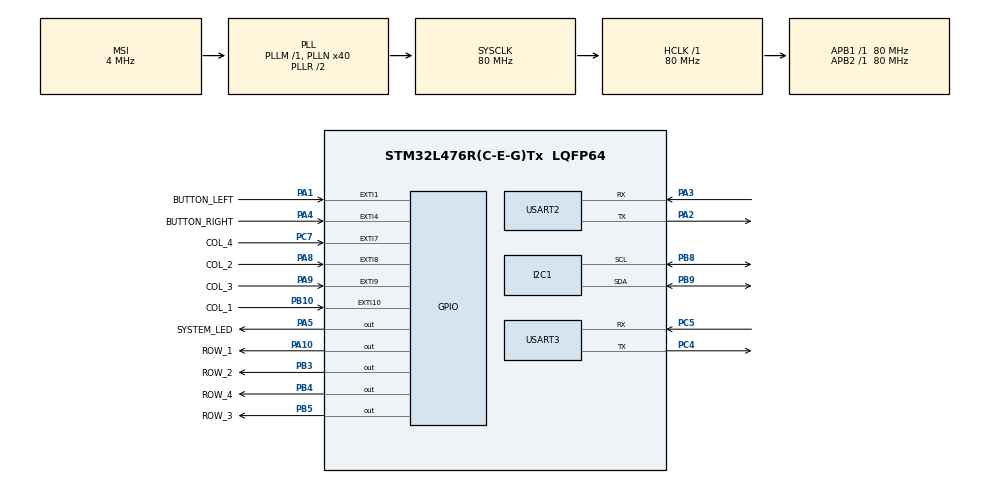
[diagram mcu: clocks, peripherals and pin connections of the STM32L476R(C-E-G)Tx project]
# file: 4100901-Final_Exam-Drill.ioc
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I2C1.Timing=0x10D19CE4
Mcu.Family=STM32L4
Mcu.Name=STM32L476R(C-E-G)Tx
Mcu.Package=LQFP64
NVIC.EXTI15_10_IRQn=true\:0\:0\:false\:false\:true\:true\:true\:true
NVIC.EXTI1_IRQn=true\:0\:0\:false\:false\:true\:true\:true\:true
NVIC.EXTI4_IRQn=true\:0\:0\:false\:false\:true\:true\:true\:true
NVIC.EXTI9_5_IRQn=true\:0\:0\:false\:false\:true\:true\:true\:true
NVIC.PriorityGroup=NVIC_PRIORITYGROUP_4
PA1.GPIO_Label=BUTTON_LEFT
PA1.Signal=GPXTI1
PA10.GPIO_Label=ROW_1
PA10.PinState=GPIO_PIN_SET
PA10.Signal=GPIO_Output
PA2.Mode=Asynchronous
PA2.Signal=USART2_TX
PA3.Mode=Asynchronous
PA3.Signal=USART2_RX
PA4.GPIO_Label=BUTTON_RIGHT
PA4.Signal=GPXTI4
PA5.GPIO_Label=SYSTEM_LED
PA5.Signal=GPIO_Output
PA8.GPIO_Label=COL_2
PA8.GPIO_ModeDefaultEXTI=GPIO_MODE_IT_RISING
PA8.GPIO_PuPd=GPIO_PULLDOWN
PA8.Signal=GPXTI8
PA9.GPIO_Label=COL_3
PA9.GPIO_ModeDefaultEXTI=GPIO_MODE_IT_RISING
PA9.GPIO_PuPd=GPIO_PULLDOWN
PA9.Signal=GPXTI9
PB10.GPIO_Label=COL_1
PB10.GPIO_ModeDefaultEXTI=GPIO_MODE_IT_RISING
PB10.GPIO_PuPd=GPIO_PULLDOWN
PB10.Signal=GPXTI10
PB3\ (JTDO-TRACESWO).GPIO_Label=ROW_2
PB3\ (JTDO-TRACESWO).PinState=GPIO_PIN_SET
PB3\ (JTDO-TRACESWO).Signal=GPIO_Output
PB4\ (NJTRST).GPIO_Label=ROW_4
PB4\ (NJTRST).PinState=GPIO_PIN_SET
PB4\ (NJTRST).Signal=GPIO_Output
PB5.GPIO_Label=ROW_3
PB5.PinState=GPIO_PIN_SET
PB5.Signal=GPIO_Output
PB8.Mode=I2C
PB8.Signal=I2C1_SCL
PB9.Mode=I2C
PB9.Signal=I2C1_SDA
PC4.Mode=Asynchronous
PC4.Signal=USART3_TX
PC5.Mode=Asynchronous
PC5.Signal=USART3_RX
PC7.GPIO_Label=COL_4
PC7.GPIO_ModeDefaultEXTI=GPIO_MODE_IT_RISING
PC7.GPIO_PuPd=GPIO_PULLDOWN
PC7.Signal=GPXTI7
ProjectManager.HeapSize=0x200
ProjectManager.StackSize=0x400
ProjectManager.TargetToolchain=STM32CubeIDE
RCC.AHBFreq_Value=80000000
RCC.APB1Freq_Value=80000000
RCC.APB1TimFreq_Value=80000000
RCC.APB2Freq_Value=80000000
RCC.APB2TimFreq_Value=80000000
RCC.CortexFreq_Value=80000000
RCC.HCLKFreq_Value=80000000
RCC.HSE_VALUE=8000000
RCC.HSI_VALUE=16000000
RCC.LSE_VALUE=32768
RCC.MSI_VALUE=4000000
RCC.PLLN=40
RCC.SYSCLKFreq_VALUE=80000000
RCC.SYSCLKSource=RCC_SYSCLKSOURCE_PLLCLK
RCC.VCOOutputFreq_Value=160000000
USART2.VirtualMode-Asynchronous=VM_ASYNC
USART3.VirtualMode-Asynchronous=VM_ASYNC
board=custom

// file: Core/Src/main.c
/* USER CODE BEGIN Header */
/**
  ******************************************************************************
  * @file           : main.c
  * @brief          : Main program body
  ******************************************************************************
  * @attention
  *
  * Copyright (c) 2024 STMicroelectronics.
  * All rights reserved.
  *
  * This software is licensed under terms that can be found in the LICENSE file
  * in the root directory of this software component.
  * If no LICENSE file comes with this software, it is provided AS-IS.
  *
  ******************************************************************************
  */
/* USER CODE END Header */
#include "main.h"

/* USER CODE BEGIN Includes */
#include <stdio.h>
#include <string.h>

#include "ssd1306.h"
#include "ssd1306_fonts.h"

#include "ring_buffer.h"
#include "keypad.h"
/* USER CODE END Includes */

I2C_HandleTypeDef hi2c1;

UART_HandleTypeDef huart2;
UART_HandleTypeDef huart3;

/* USER CODE BEGIN PV */
#define DISPLAY_BUFFER_SIZE 16
#define USART2_BUFFER_SIZE 8
#define CORRECT_PASSCODE "1003828997"
uint8_t usart2_buffer[USART2_BUFFER_SIZE];
ring_buffer_t usart2_rb;
uint8_t usart2_rx;

uint32_t left_toggles = 0;
uint32_t left_last_press_tick = 0;
char display_buffer[DISPLAY_BUFFER_SIZE];
uint8_t display_index = 0;

uint8_t error_mode = 0;  // Control de parpadeo del LED
/* USER CODE END PV */

void SystemClock_Config(void);
static void MX_GPIO_Init(void);
static void MX_USART2_UART_Init(void);
static void MX_I2C1_Init(void);
static void MX_USART3_UART_Init(void);

/* USER CODE BEGIN 0 */

void Update_Display() {
    ssd1306_Fill(Black);  // Limpia la pantalla
    ssd1306_SetCursor(0, 0);  // Reinicia el cursor al inicio de la pantalla
    ssd1306_WriteString(display_buffer, Font_7x10, White);  // Mostrar el buffer en la pantalla
    ssd1306_UpdateScreen();  // Actualiza la pantalla
}

int _write(int file, char *ptr, int len)
{
  HAL_UART_Transmit(&huart2, (uint8_t *)ptr, len, 10);
  return len;
}

void HAL_UART_RxCpltCallback(UART_HandleTypeDef *huart)
{
  /* Data received in USART2 */
  if (huart->Instance == USART2) {
	  usart2_rx = USART2->RDR; // leyendo el byte recibido de USART2
	  ring_buffer_write(&usart2_rb, usart2_rx); // put the data received in buffer
	  //HAL_UART_Receive_IT(&huart2, &usart2_rx, 1); // enable interrupt to continue receiving
	  ATOMIC_SET_BIT(USART2->CR1, USART_CR1_RXNEIE); // usando un funcion mas liviana para reducir memoria
  }
}

void HAL_GPIO_EXTI_Callback(uint16_t GPIO_Pin) {
    uint8_t key_pressed = keypad_scan(GPIO_Pin);

    if (key_pressed != 0xFF) {
        // Mostrar la tecla presionada en la consola
        printf("Tecla presionada: %c\r\n", key_pressed);

        // Si la tecla es un número o símbolo
        if (key_pressed != '#' && key_pressed != '*') {
            if (display_index < DISPLAY_BUFFER_SIZE - 1) {  // Asegura que no se desborde el buffer
                display_buffer[display_index++] = key_pressed;  // Añadir el número al buffer
                display_buffer[display_index] = '\0';  // Asegura que el buffer siempre sea un string válido
                Update_Display();  // Actualizar la pantalla
                printf("Pantalla actualizada: %s\r\n", display_buffer);  // Mostrar en consola el buffer
            }
        } else if (key_pressed == '#') {
            // Verificar si la clave ingresada es la correcta
            if (display_index == 10 && strcmp(display_buffer, CORRECT_PASSCODE) == 0) {
                // Si la clave es correcta
                strcpy(display_buffer, "success");
                HAL_GPIO_WritePin(GPIOA, SYSTEM_LED_Pin, GPIO_PIN_SET);  // Enciende el LED
                printf("Clave correcta, LED encendido\r\n");
                error_mode = 0;  // Detiene el parpadeo en caso de error
            } else {
                // Si la clave es incorrecta
                strcpy(display_buffer, "Error");
                printf("Clave incorrecta, iniciando parpadeo del LED\r\n");
                error_mode = 1;  // Activa el modo de parpadeo
            }
            Update_Display();  // Mostrar el resultado en pantalla
            printf("Pantalla actualizada: %s\r\n", display_buffer);  // Mostrar el resultado en consola
            display_index = 0;  // Reiniciar el índice

        } else if (key_pressed == '*') {
            // Si se presiona '*', reiniciar la pantalla y el buffer
            display_index = 0;  // Reiniciar el índice
            HAL_GPIO_WritePin(GPIOA, SYSTEM_LED_Pin, GPIO_PIN_RESET);  // Apaga el LED
            printf("Reiniciando pantalla y LED\r\n");
            memset(display_buffer, 0, DISPLAY_BUFFER_SIZE);  // Limpiar el buffer
            Update_Display();  // Limpiar la pantalla
        }
    }

    // Otros botones, como el BUTTON_RIGHT y BUTTON_LEFT, siguen igual
    if (GPIO_Pin == BUTTON_RIGHT_Pin) {
        HAL_UART_Transmit(&huart2, (uint8_t *)"S1\r\n", 4, 10);
        if (HAL_GetTick() < (left_last_press_tick + 300)) {  // Si la última pulsación fue en los últimos 300 ms
            left_toggles = 0xFFFFFF;  // Tiempo largo de toggle (infinito)
        } else {
            left_toggles = 6;
        }
        left_last_press_tick = HAL_GetTick();
    } else if (GPIO_Pin == BUTTON_LEFT_Pin) {
        left_toggles = 0;
    }
}

void low_power_mode()
{
#define AWAKE_TIME (30 * 1000) // 30 segundos
	static uint32_t sleep_tick = AWAKE_TIME;

	if (sleep_tick > HAL_GetTick()) {
		return;
	}
	printf("Sleeping\r\n");
	sleep_tick = HAL_GetTick() + AWAKE_TIME;

	RCC->AHB1SMENR  = 0x0;
	RCC->AHB2SMENR  = 0x0;
	RCC->AHB3SMENR  = 0x0;

	RCC->APB1SMENR1 = 0x0;
	RCC->APB1SMENR2 = 0x0;
	RCC->APB2SMENR  = 0x0;

	/*Suspend Tick increment to prevent wakeup by Systick interrupt.
	Otherwise the Systick interrupt will wake up the device within 1ms (HAL time base)*/
	HAL_SuspendTick();

	/* Enter Sleep Mode , wake up is done once User push-button is pressed */
	HAL_PWR_EnterSLEEPMode(PWR_MAINREGULATOR_ON, PWR_SLEEPENTRY_WFI);

	/* Resume Tick interrupt if disabled prior to SLEEP mode entry */
	HAL_ResumeTick();

	printf("Awake\r\n");
}
/* USER CODE END 0 */

int main(void)
{

  /* MCU Configuration--------------------------------------------------------*/

  /* Reset of all peripherals, Initializes the Flash interface and the Systick. */
  HAL_Init();

  /* Configure the system clock */
  SystemClock_Config();

  /* Initialize all configured peripherals */
  MX_GPIO_Init();
  MX_USART2_UART_Init();
  MX_I2C1_Init();
  MX_USART3_UART_Init();
  printf("Sistema iniciado\r\n");
  /* USER CODE BEGIN 2 */

  ssd1306_Init();
  ssd1306_SetCursor(25, 30);
  ssd1306_WriteString("Hola Usuario", Font_7x10, White);
  ssd1306_UpdateScreen();
  printf("Pantalla inicializada con 'Hola Usuario'\r\n");

  ring_buffer_init(&usart2_rb, usart2_buffer, USART2_BUFFER_SIZE);
  /* USER CODE END 2 */

  /* Infinite loop */
  /* USER CODE BEGIN WHILE */
  printf("Starting...\r\n");
  //HAL_UART_Receive_IT(&huart2, &usart2_rx, 1); // enable interrupt for USART2 Rx
  ATOMIC_SET_BIT(USART2->CR1, USART_CR1_RXNEIE); // usando un funcion mas liviana para reducir memoria
  while (1) {
	  if (ring_buffer_is_full(&usart2_rb) != 0) {
		  printf("Received:\r\n");
		  while (ring_buffer_is_empty(&usart2_rb) == 0) {
			  uint8_t data;
			  ring_buffer_read(&usart2_rb, &data);
			  HAL_UART_Transmit(&huart2, &data, 1, 10);
			  printf("%c", data);  // Mostrar los datos recibidos en consola
		  }
		  printf("\r\n");
	  }

    /* USER CODE END WHILE */

    /* USER CODE BEGIN 3 */
	  if (error_mode == 1) {
	          static uint32_t last_blink_time = 0;
	          if (HAL_GetTick() - last_blink_time >= 4000) {  // Parpadeo cada 4 segundos
	              HAL_GPIO_TogglePin(GPIOA, SYSTEM_LED_Pin);  // Cambia el estado del LED
	              last_blink_time = HAL_GetTick();
	              printf("Clave Incorrecta, LED parpadeando\r\n");
	          }
	      }
	  low_power_mode();
  }
  /* USER CODE END 3 */
}

void SystemClock_Config(void)
{
  RCC_OscInitTypeDef RCC_OscInitStruct = {0};
  RCC_ClkInitTypeDef RCC_ClkInitStruct = {0};

  /** Configure the main internal regulator output voltage
  */
  if (HAL_PWREx_ControlVoltageScaling(PWR_REGULATOR_VOLTAGE_SCALE1) != HAL_OK)
  {
    Error_Handler();
  }

  /** Initializes the RCC Oscillators according to the specified parameters
  * in the RCC_OscInitTypeDef structure.
  */
  RCC_OscInitStruct.OscillatorType = RCC_OSCILLATORTYPE_MSI;
  RCC_OscInitStruct.MSIState = RCC_MSI_ON;
  RCC_OscInitStruct.MSICalibrationValue = 0;
  RCC_OscInitStruct.MSIClockRange = RCC_MSIRANGE_6;
  RCC_OscInitStruct.PLL.PLLState = RCC_PLL_ON;
  RCC_OscInitStruct.PLL.PLLSource = RCC_PLLSOURCE_MSI;
  RCC_OscInitStruct.PLL.PLLM = 1;
  RCC_OscInitStruct.PLL.PLLN = 40;
  RCC_OscInitStruct.PLL.PLLP = RCC_PLLP_DIV7;
  RCC_OscInitStruct.PLL.PLLQ = RCC_PLLQ_DIV2;
  RCC_OscInitStruct.PLL.PLLR = RCC_PLLR_DIV2;
  if (HAL_RCC_OscConfig(&RCC_OscInitStruct) != HAL_OK)
  {
    Error_Handler();
  }

  /** Initializes the CPU, AHB and APB buses clocks
  */
  RCC_ClkInitStruct.ClockType = RCC_CLOCKTYPE_HCLK|RCC_CLOCKTYPE_SYSCLK
                              |RCC_CLOCKTYPE_PCLK1|RCC_CLOCKTYPE_PCLK2;
  RCC_ClkInitStruct.SYSCLKSource = RCC_SYSCLKSOURCE_PLLCLK;
  RCC_ClkInitStruct.AHBCLKDivider = RCC_SYSCLK_DIV1;
  RCC_ClkInitStruct.APB1CLKDivider = RCC_HCLK_DIV1;
  RCC_ClkInitStruct.APB2CLKDivider = RCC_HCLK_DIV1;

  if (HAL_RCC_ClockConfig(&RCC_ClkInitStruct, FLASH_LATENCY_4) != HAL_OK)
  {
    Error_Handler();
  }
}

static void MX_I2C1_Init(void)
{

  hi2c1.Instance = I2C1;
  hi2c1.Init.Timing = 0x10D19CE4;
  hi2c1.Init.OwnAddress1 = 0;
  hi2c1.Init.AddressingMode = I2C_ADDRESSINGMODE_7BIT;
  hi2c1.Init.DualAddressMode = I2C_DUALADDRESS_DISABLE;
  hi2c1.Init.OwnAddress2 = 0;
  hi2c1.Init.OwnAddress2Masks = I2C_OA2_NOMASK;
  hi2c1.Init.GeneralCallMode = I2C_GENERALCALL_DISABLE;
  hi2c1.Init.NoStretchMode = I2C_NOSTRETCH_DISABLE;
  if (HAL_I2C_Init(&hi2c1) != HAL_OK)
  {
    Error_Handler();
  }

  /** Configure Analogue filter
  */
  if (HAL_I2CEx_ConfigAnalogFilter(&hi2c1, I2C_ANALOGFILTER_ENABLE) != HAL_OK)
  {
    Error_Handler();
  }

  /** Configure Digital filter
  */
  if (HAL_I2CEx_ConfigDigitalFilter(&hi2c1, 0) != HAL_OK)
  {
    Error_Handler();
  }

}

static void MX_USART2_UART_Init(void)
{

  huart2.Instance = USART2;
  huart2.Init.BaudRate = 115200;
  huart2.Init.WordLength = UART_WORDLENGTH_8B;
  huart2.Init.StopBits = UART_STOPBITS_1;
  huart2.Init.Parity = UART_PARITY_NONE;
  huart2.Init.Mode = UART_MODE_TX_RX;
  huart2.Init.HwFlowCtl = UART_HWCONTROL_NONE;
  huart2.Init.OverSampling = UART_OVERSAMPLING_16;
  huart2.Init.OneBitSampling = UART_ONE_BIT_SAMPLE_DISABLE;
  huart2.AdvancedInit.AdvFeatureInit = UART_ADVFEATURE_NO_INIT;
  if (HAL_UART_Init(&huart2) != HAL_OK)
  {
    Error_Handler();
  }

}

static void MX_USART3_UART_Init(void)
{

  huart3.Instance = USART3;
  huart3.Init.BaudRate = 115200;
  huart3.Init.WordLength = UART_WORDLENGTH_8B;
  huart3.Init.StopBits = UART_STOPBITS_1;
  huart3.Init.Parity = UART_PARITY_NONE;
  huart3.Init.Mode = UART_MODE_TX_RX;
  huart3.Init.HwFlowCtl = UART_HWCONTROL_NONE;
  huart3.Init.OverSampling = UART_OVERSAMPLING_16;
  huart3.Init.OneBitSampling = UART_ONE_BIT_SAMPLE_DISABLE;
  huart3.AdvancedInit.AdvFeatureInit = UART_ADVFEATURE_NO_INIT;
  if (HAL_UART_Init(&huart3) != HAL_OK)
  {
    Error_Handler();
  }

}

static void MX_GPIO_Init(void)
{
  GPIO_InitTypeDef GPIO_InitStruct = {0};

  /* GPIO Ports Clock Enable */
  __HAL_RCC_GPIOA_CLK_ENABLE();
  __HAL_RCC_GPIOC_CLK_ENABLE();
  __HAL_RCC_GPIOB_CLK_ENABLE();

  /*Configure GPIO pin Output Level */
  HAL_GPIO_WritePin(SYSTEM_LED_GPIO_Port, SYSTEM_LED_Pin, GPIO_PIN_RESET);

  /*Configure GPIO pin Output Level */
  HAL_GPIO_WritePin(ROW_1_GPIO_Port, ROW_1_Pin, GPIO_PIN_SET);

  /*Configure GPIO pin Output Level */
  HAL_GPIO_WritePin(GPIOB, ROW_2_Pin|ROW_4_Pin|ROW_3_Pin, GPIO_PIN_SET);

  /*Configure GPIO pins : BUTTON_LEFT_Pin BUTTON_RIGHT_Pin */
  GPIO_InitStruct.Pin = BUTTON_LEFT_Pin|BUTTON_RIGHT_Pin;
  GPIO_InitStruct.Mode = GPIO_MODE_IT_RISING;
  GPIO_InitStruct.Pull = GPIO_NOPULL;
  HAL_GPIO_Init(GPIOA, &GPIO_InitStruct);

  /*Configure GPIO pins : SYSTEM_LED_Pin ROW_1_Pin */
  GPIO_InitStruct.Pin = SYSTEM_LED_Pin|ROW_1_Pin;
  GPIO_InitStruct.Mode = GPIO_MODE_OUTPUT_PP;
  GPIO_InitStruct.Pull = GPIO_NOPULL;
  GPIO_InitStruct.Speed = GPIO_SPEED_FREQ_LOW;
  HAL_GPIO_Init(GPIOA, &GPIO_InitStruct);

  /*Configure GPIO pin : COL_1_Pin */
  GPIO_InitStruct.Pin = COL_1_Pin;
  GPIO_InitStruct.Mode = GPIO_MODE_IT_RISING;
  GPIO_InitStruct.Pull = GPIO_PULLDOWN;
  HAL_GPIO_Init(COL_1_GPIO_Port, &GPIO_InitStruct);

  /*Configure GPIO pin : COL_4_Pin */
  GPIO_InitStruct.Pin = COL_4_Pin;
  GPIO_InitStruct.Mode = GPIO_MODE_IT_RISING;
  GPIO_InitStruct.Pull = GPIO_PULLDOWN;
  HAL_GPIO_Init(COL_4_GPIO_Port, &GPIO_InitStruct);

  /*Configure GPIO pins : COL_2_Pin COL_3_Pin */
  GPIO_InitStruct.Pin = COL_2_Pin|COL_3_Pin;
  GPIO_InitStruct.Mode = GPIO_MODE_IT_RISING;
  GPIO_InitStruct.Pull = GPIO_PULLDOWN;
  HAL_GPIO_Init(GPIOA, &GPIO_InitStruct);

  /*Configure GPIO pins : ROW_2_Pin ROW_4_Pin ROW_3_Pin */
  GPIO_InitStruct.Pin = ROW_2_Pin|ROW_4_Pin|ROW_3_Pin;
  GPIO_InitStruct.Mode = GPIO_MODE_OUTPUT_PP;
  GPIO_InitStruct.Pull = GPIO_NOPULL;
  GPIO_InitStruct.Speed = GPIO_SPEED_FREQ_LOW;
  HAL_GPIO_Init(GPIOB, &GPIO_InitStruct);

  /* EXTI interrupt init*/
  HAL_NVIC_SetPriority(EXTI1_IRQn, 0, 0);
  HAL_NVIC_EnableIRQ(EXTI1_IRQn);

  HAL_NVIC_SetPriority(EXTI4_IRQn, 0, 0);
  HAL_NVIC_EnableIRQ(EXTI4_IRQn);

  HAL_NVIC_SetPriority(EXTI9_5_IRQn, 0, 0);
  HAL_NVIC_EnableIRQ(EXTI9_5_IRQn);

  HAL_NVIC_SetPriority(EXTI15_10_IRQn, 0, 0);
  HAL_NVIC_EnableIRQ(EXTI15_10_IRQn);

}

void Error_Handler(void)
{
  __disable_irq();
  while (1)
  {
  }
}
